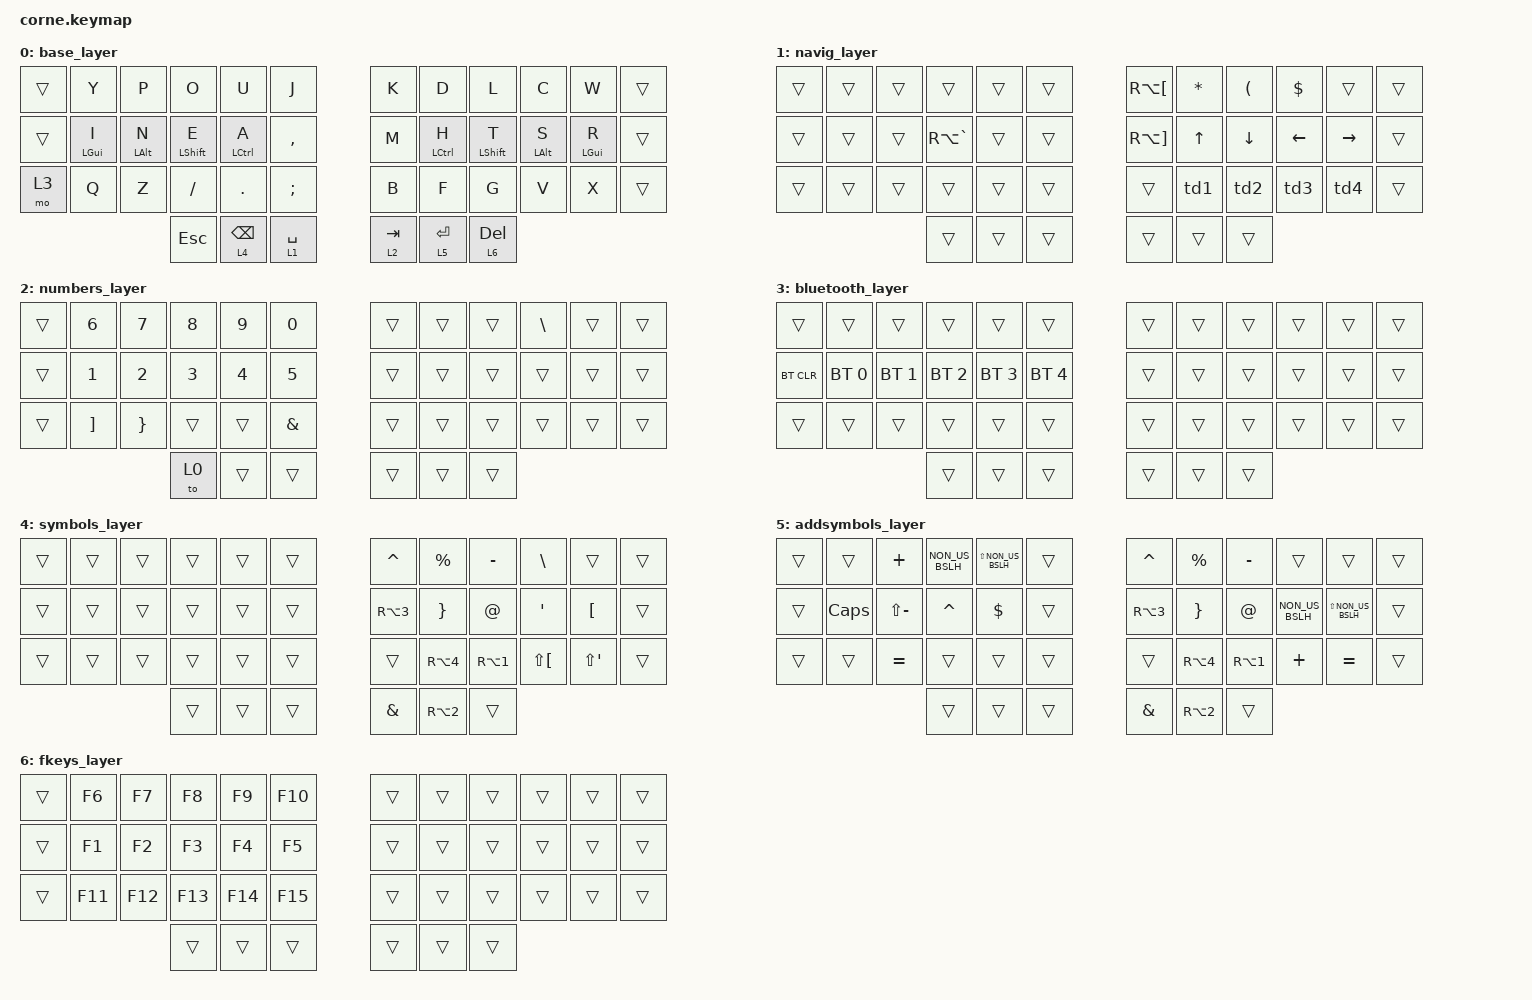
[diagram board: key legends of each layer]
/*
 * Copyright (c) 2020 The ZMK Contributors
 * Testing
 *
 * SPDX-License-Identifier: MIT
 */

#include <behaviors.dtsi>
#include <dt-bindings/zmk/keys.h>
#include <dt-bindings/zmk/bt.h>

#define base_layer 0
#define navig_layer 1
#define numbers_layer 2
#define bluetooth_layer 3
#define symbols_layer 4
#define addsymbols_layer 5
#define fkeys_layer 6

&caps_word {
    continue-list = <BSPC LS(FSLH)>; 
    };

/ {
    behaviors {
        hm: homerow_mods {
            compatible = "zmk,behavior-hold-tap";
            label = "HOMEROW_MODS";
            #binding-cells = <2>;
            tapping-term-ms = <150>;
            quick_tap_ms = <0>;
            flavor = "tap-preferred";
            bindings = <&kp>, <&kp>;
        };

        td0: tap_dance_0 {
            compatible = "zmk,behavior-tap-dance";
            label = "TAP_DANCE_0";
            #binding-cells = <0>;
            tapping-term-ms = <200>;
            bindings = <&kp DELETE>, <&kp CAPSLOCK>, <&kp N3>;
        };

        td1: tap_dance_1 {
            compatible = "zmk,behavior-tap-dance";
            label = "TAP_DANCE_1";
            #binding-cells = <0>;
            tapping-term-ms = <200>;
            bindings = <&kp RA(SQT)>, <&kp PAGE_UP>;
        };

        td2: tap_dance_2 {
            compatible = "zmk,behavior-tap-dance";
            label = "TAP_DANCE_2";
            #binding-cells = <0>;
            tapping-term-ms = <200>;
            bindings = <&kp RA(BSLH)>, <&kp PAGE_DOWN>;
        };

        td3: tap_dance_3 {
            compatible = "zmk,behavior-tap-dance";
            label = "TAP_DANCE_3";
            #binding-cells = <0>;
            tapping-term-ms = <200>;
            bindings = <&kp RA(LBKT)>, <&kp HOME>;
        };

        td4: tap_dance_4 {
            compatible = "zmk,behavior-tap-dance";
            label = "TAP_DANCE_4";
            #binding-cells = <0>;
            tapping-term-ms = <200>;
            bindings = <&kp RA(RBKT)>, <&kp END>;
        };
        
    };


//|-----------|------|------|------|------|--------------|---|------------|-------|------|------|-------|----------|
//| Layer 0   |      |      |      |      |              |   |            |       |      |      |       |          |
//|-----------|------|------|------|------|--------------|---|------------|-------|------|------|-------|----------|
//| '         | y    | p    | o    | u    | j            |   | k          | d     | l    | c    | w     | `        |
//| Backspace | i    | n    | e    | a    | ,            |   | m          | h     | t    | s    | r     | tilde    |
//| ToLay3    | q    | z    | -    | .    | ñ            |   | b          | f     | g    | v    | x     | Capslock |
//|           |      |      | @    | Esc  | Space\ToLay2 |   | Tab\ToLay1 | Enter | Supr |      |       |          |
//|-----------|------|------|------|------|--------------|---|------------|-------|------|------|-------|----------|
//| Shifted   |      |      |      |      |              |   |            |       |      |      |       |          |

//|-----------|------|------|------|------|--------------|---|------------|-------|------|------|-------|----------|
//| ?         | Y    | P    | O    | U    | J            |   | K          | D     | L    | C    | W     | ^        |
//| Backspace | I    | N    | E    | A    | ;            |   | M          | H     | T    | S    | R     | dieresis |
//| ToLay3    | Q    | Z    | _    | :    | Ñ            |   | B          | F     | G    | V    | X     |          |
//|           |      |      | @    | Esc  | Space\ToLay2 |   | Tab\ToLay1 | Enter | Supr |      |       |          |
//|-----------|------|------|------|------|--------------|---|------------|-------|------|------|-------|----------|
//| Layer 1   |      |      |      |      |              |   |            |       |      |      |       |          |
//|-----------|------|------|------|------|--------------|---|------------|-------|------|------|-------|----------|
//| ¿         | 6    | 7    | 8    | 9    | 0            |   |            |       |      | ç    |       |          |
//| Backspace | 1    | 2    | 3    | 4    | 5            |   |            |       |      |      |       |          |
//| ToLay3    | +    | *    | -    | /    | =            |   |            |       |      |      |       |          |
//|           |      |      | "    | !    | Space\ToLay2 |   | Tab\ToLay1 | Enter | Supr |      |       |          |
//|-----------|------|------|------|------|--------------|---|------------|-------|------|------|-------|----------|
//| Layer 2   |      |      |      |      |              |   |            |       |      |      |       |          |
//|-----------|------|------|------|------|--------------|---|------------|-------|------|------|-------|----------|
//|           |      |      |      |      |              |   | [          | (     | )    | Home | End   | Vertline |
//|           |      |      | \    |      |              |   | %          | Up    | Down | Left | Right | $        |
//| ToLay3    |      |      |      |      |              |   | ]          | {     | }    | <    | >     |          |
//|           |      |      | @    | Esc  | Space\ToLay2 |   | Tab\ToLay1 | &     | ~    |      |       |          |
//|-----------|------|------|------|------|--------------|---|------------|-------|------|------|-------|----------|
//| Layer 3   |      |      |      |      |              |   |            |       |      |      |       |          |
//|-----------|------|------|------|------|--------------|---|------------|-------|------|------|-------|----------|
//|           |      |      |      |      |              |   |            |       |      |      |       |          |
//| BT_Clear  | BT_0 | BT_1 | BT_2 | BT_3 | BT_4         |   |            |       |      |      |       |          |
//| ToLay3    |      |      |      |      |              |   |            |       |      |      |       |          |
//|           |      |      |      |      |              |   |            |       |      |      |       |          |
//|           |      |      | @    | Esc  | Space\ToLay2 |   | Tab\ToLay1 | Enter | Supr |      |       |          |
//|-----------|------|------|------|------|--------------|---|------------|-------|------|------|-------|----------|
//

        keymap {
                compatible = "zmk,keymap";

                base_layer {
                        bindings = <
   &trans &kp Y &kp P   &kp O    &kp U       &kp J   &kp K &kp D       &kp L       &kp C      &kp W      &trans
   &trans &hm LGUI I  &hm LALT N  &hm LSHFT E &hm LCTRL A &kp COMMA   &kp M &hm LCTRL H &hm LSHFT T &hm LALT S &hm LGUI R &trans
   &mo 3   &kp Q    &kp Z       &kp FSLH       &kp DOT       &kp SEMI   &kp B &kp F   &kp G   &kp V   &kp X      &trans
                  /*&to 2   &lt 4 ESC &lt 1 SPACE &lt 2 TAB &lt 5 RET &td0*/
                  /*&kp ESC   &lt 4 BSPC &lt 1 SPACE &lt 2 TAB &lt 5 RET &td0*/
                  &kp ESC   &lt 4 BSPC &lt 1 SPACE &lt 2 TAB &lt 5 RET &lt 6 DEL
                        >;
                };
                navig_layer {
                        bindings = <
    &trans &trans &trans &trans &trans &trans                   &kp RA(LBKT) &kp STAR &kp LPAR &kp DLLR &trans &trans
   &trans &trans &trans &kp RA(GRAVE) &trans &trans               &kp RA(RBKT) &kp UP &kp DOWN &kp LEFT &kp RIGHT &trans
   /*&trans &trans &trans &kp RA(GRAVE) &trans &trans               &kp RA(RBKT) &td1 &td2 &td3 &td4 &trans*/
    /*&trans &trans &trans &trans &trans &trans    &trans &kp RA(SQT) &kp RA(BSLH) &trans &trans &trans*/
    &trans &trans &trans &trans &trans &trans    &trans &td1 &td2 &td3 &td4 &trans
                                   &trans &trans &trans   &trans &trans &trans
                        >;
                };

                numbers_layer {
                        bindings = <
   &trans    &kp N6   &kp N7   &kp N8 &kp N9    &kp N0            &trans &trans &trans &kp BSLH &trans &trans  
   &trans    &kp N1   &kp N2   &kp N3 &kp N4    &kp N5           &trans &trans &trans &trans &trans &trans  
   &trans  &kp RBKT &kp RBRC  &trans  &trans  &kp AMPS   &trans &trans  &trans &trans &trans &trans
                                        &to 0     &trans       &trans         &trans &trans &trans
                        >;
                };

                bluetooth_layer {
                        bindings = <
    &trans &trans &trans &trans &trans &trans           &trans &trans &trans &trans &trans &trans
   &bt BT_CLR &bt BT_SEL 0 &bt BT_SEL 1 &bt BT_SEL 2 &bt BT_SEL 3 &bt BT_SEL 4        &trans &trans &trans &trans &trans &trans 
    &trans &trans &trans &trans &trans &trans           &trans &trans &trans &trans &trans &trans
                                   &trans &trans &trans   &trans &trans &trans
                        >;
                };

                symbols_layer {
                        bindings = <
                            &trans &trans &trans &trans &trans &trans    &kp CARET &kp PRCNT &kp MINUS &kp BSLH &trans &trans
                            &trans &trans &trans &trans &trans &trans    &kp RA(NUMBER_3) &kp RBRC &kp AT &kp SQT  &kp LBKT &trans
                            &trans &trans &trans &trans &trans &trans    &trans &kp RA(NUMBER_4) &kp RA(NUMBER_1) &kp LS(LBKT) &kp LS(SQT) &trans
                                   &trans &trans &trans                  &kp AMPS &kp RA(NUMBER_2) &trans
                        >;
                };


                addsymbols_layer {
                        bindings = <
                            &trans &trans &kp PLUS &kp NON_US_BSLH &kp LS(NON_US_BSLH) &trans    &kp CARET &kp PRCNT &kp MINUS &trans &trans &trans
                            &trans &kp CAPSLOCK &kp LS(MINUS) &kp CARET &kp DLLR &trans    &kp RA(NUMBER_3) &kp RBRC &kp AT &kp NON_US_BSLH &kp LS(NON_US_BSLH) &trans
                            &trans &trans &kp EQUAL &trans &trans &trans    &trans &kp RA(NUMBER_4) &kp RA(NUMBER_1) &kp PLUS &kp EQUAL &trans
                                   &trans &trans &trans                  &kp AMPS &kp RA(NUMBER_2) &trans
                        >;
                };

                fkeys_layer {
                        bindings = <
   &trans    &kp F6   &kp F7   &kp F8 &kp F9    &kp F10            &trans &trans &trans &trans &trans &trans  
   &trans    &kp F1   &kp F2   &kp F3 &kp F4    &kp F5           &trans &trans &trans &trans &trans &trans  
   &trans    &kp F11   &kp F12   &kp F13 &kp F14    &kp F15           &trans &trans &trans &trans &trans &trans  
                                        &trans     &trans       &trans         &trans &trans &trans
                        >;
                };


        };
};
